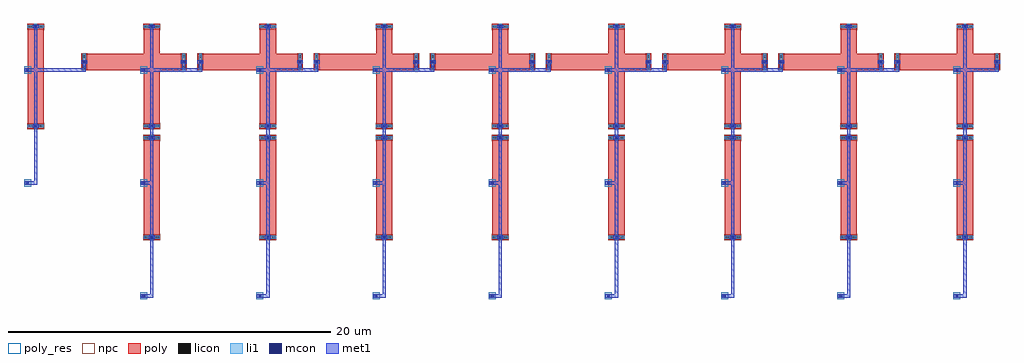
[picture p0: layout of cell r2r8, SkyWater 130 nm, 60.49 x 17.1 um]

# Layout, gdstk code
import gdstk
lib = gdstk.Library(unit=1e-6, precision=1e-09)
def R(c, l, rs):  # rectangles x0, y0, x1, y1
    for r in rs: c.add(gdstk.rectangle(r[:2], r[2:], *l))
def A(c, l, x, y, w, h, nx, ny, dx, dy):  # array of equal rectangles
    R(c, l, [(x+i*dx, y+j*dy, x+i*dx+w, y+j*dy+h) for i in range(nx) for j in range(ny)])
poly_res = (66, 13)
poly = (66, 20)
licon = (66, 44)
li1 = (67, 20)
mcon = (67, 44)
met1 = (68, 20)
npc = (95, 20)

r2r8 = lib.new_cell('r2r8')
A(r2r8, poly_res, 9.7, -1.28, 1, 6, 8, 1, 7.2, 0)
A(r2r8, poly_res, 2.5, 5.61, 1, 6, 9, 1, 7.2, 0)
A(r2r8, poly_res, 6.1, 9, 6, 1, 8, 1, 7.2, 0)
A(r2r8, poly, 9.7, -1.53, 1, 6.5, 8, 1, 7.2, 0)
A(r2r8, poly, 2.5, 5.36, 1, 6.5, 9, 1, 7.2, 0)
A(r2r8, poly, 5.85, 9, 6.5, 1, 8, 1, 7.2, 0)
A(r2r8, licon, 9.775, -1.45, 0.17, 0.17, 3, 2, 0.34, 6.17)
A(r2r8, licon, 16.975, -1.45, 0.17, 0.17, 3, 2, 0.34, 6.17)
A(r2r8, licon, 24.175, -1.45, 0.17, 0.17, 3, 2, 0.34, 6.17)
A(r2r8, licon, 31.375, -1.45, 0.17, 0.17, 3, 2, 0.34, 6.17)
A(r2r8, licon, 38.575, -1.45, 0.17, 0.17, 3, 2, 0.34, 6.17)
A(r2r8, licon, 45.775, -1.45, 0.17, 0.17, 3, 2, 0.34, 6.17)
A(r2r8, licon, 52.975, -1.45, 0.17, 0.17, 3, 2, 0.34, 6.17)
A(r2r8, licon, 60.175, -1.45, 0.17, 0.17, 3, 2, 0.34, 6.17)
A(r2r8, licon, 2.575, 5.44, 0.17, 0.17, 3, 2, 0.34, 6.17)
A(r2r8, licon, 9.775, 5.44, 0.17, 0.17, 3, 2, 0.34, 6.17)
A(r2r8, licon, 16.975, 5.44, 0.17, 0.17, 3, 2, 0.34, 6.17)
A(r2r8, licon, 24.175, 5.44, 0.17, 0.17, 3, 2, 0.34, 6.17)
A(r2r8, licon, 31.375, 5.44, 0.17, 0.17, 3, 2, 0.34, 6.17)
A(r2r8, licon, 38.575, 5.44, 0.17, 0.17, 3, 2, 0.34, 6.17)
A(r2r8, licon, 45.775, 5.44, 0.17, 0.17, 3, 2, 0.34, 6.17)
A(r2r8, licon, 52.975, 5.44, 0.17, 0.17, 3, 2, 0.34, 6.17)
A(r2r8, licon, 60.175, 5.44, 0.17, 0.17, 3, 2, 0.34, 6.17)
A(r2r8, licon, 5.93, 9.075, 0.17, 0.17, 1, 3, 0, 0.34)
A(r2r8, licon, 12.1, 9.075, 0.17, 0.17, 1, 3, 0, 0.34)
A(r2r8, licon, 13.13, 9.075, 0.17, 0.17, 1, 3, 0, 0.34)
A(r2r8, licon, 19.3, 9.075, 0.17, 0.17, 1, 3, 0, 0.34)
A(r2r8, licon, 20.33, 9.075, 0.17, 0.17, 1, 3, 0, 0.34)
A(r2r8, licon, 26.5, 9.075, 0.17, 0.17, 1, 3, 0, 0.34)
A(r2r8, licon, 27.53, 9.075, 0.17, 0.17, 1, 3, 0, 0.34)
A(r2r8, licon, 33.7, 9.075, 0.17, 0.17, 1, 3, 0, 0.34)
A(r2r8, licon, 34.73, 9.075, 0.17, 0.17, 1, 3, 0, 0.34)
A(r2r8, licon, 40.9, 9.075, 0.17, 0.17, 1, 3, 0, 0.34)
A(r2r8, licon, 41.93, 9.075, 0.17, 0.17, 1, 3, 0, 0.34)
A(r2r8, licon, 48.1, 9.075, 0.17, 0.17, 1, 3, 0, 0.34)
A(r2r8, licon, 49.13, 9.075, 0.17, 0.17, 1, 3, 0, 0.34)
A(r2r8, licon, 55.3, 9.075, 0.17, 0.17, 1, 3, 0, 0.34)
A(r2r8, licon, 56.33, 9.075, 0.17, 0.17, 1, 3, 0, 0.34)
A(r2r8, licon, 62.5, 9.075, 0.17, 0.17, 1, 3, 0, 0.34)
A(r2r8, li1, 9.615, -5.165, 0.17, 0.33, 8, 1, 7.2, 0)
A(r2r8, li1, 10.115, -1.53, 0.17, 0.33, 8, 2, 7.2, 6.17)
A(r2r8, li1, 9.695, -1.45, 1.01, 0.17, 8, 2, 7.2, 6.17)
A(r2r8, li1, 2.915, 5.36, 0.17, 0.33, 9, 2, 7.2, 6.17)
A(r2r8, li1, 2.495, 5.44, 1.01, 0.17, 9, 2, 7.2, 6.17)
A(r2r8, li1, 2.28, 8.78, 0.44, 0.44, 9, 1, 7.2, 0)
R(r2r8, li1, [(9.48,-5.22,9.92,-4.78), (9.48,-5.22,9.92,-4.78), (16.68,-5.22,17.12,-4.78), (16.68,-5.22,17.12,-4.78), (23.88,-5.22,24.32,-4.78), (23.88,-5.22,24.32,-4.78), (31.08,-5.22,31.52,-4.78), (31.08,-5.22,31.52,-4.78), (38.28,-5.22,38.72,-4.78), (38.28,-5.22,38.72,-4.78), (45.48,-5.22,45.92,-4.78), (45.48,-5.22,45.92,-4.78), (52.68,-5.22,53.12,-4.78), (52.68,-5.22,53.12,-4.78), (59.88,-5.22,60.32,-4.78), (59.88,-5.22,60.32,-4.78), (2.28,1.78,2.72,2.22), (9.48,1.78,9.92,2.22), (9.48,1.78,9.92,2.22), (9.48,1.78,9.92,2.22), (16.68,1.78,17.12,2.22), (16.68,1.78,17.12,2.22), (16.68,1.78,17.12,2.22), (23.88,1.78,24.32,2.22), (23.88,1.78,24.32,2.22), (23.88,1.78,24.32,2.22), (31.08,1.78,31.52,2.22), (31.08,1.78,31.52,2.22), (31.08,1.78,31.52,2.22), (38.28,1.78,38.72,2.22), (38.28,1.78,38.72,2.22), (38.28,1.78,38.72,2.22), (45.48,1.78,45.92,2.22), (45.48,1.78,45.92,2.22), (45.48,1.78,45.92,2.22), (52.68,1.78,53.12,2.22), (52.68,1.78,53.12,2.22), (52.68,1.78,53.12,2.22), (59.88,1.78,60.32,2.22), (59.88,1.78,60.32,2.22), (59.88,1.78,60.32,2.22), (2.415,1.835,2.585,2.165), (9.615,1.835,9.785,2.165), (9.615,1.835,9.785,2.165), (16.815,1.835,16.985,2.165), (16.815,1.835,16.985,2.165), (24.015,1.835,24.185,2.165), (24.015,1.835,24.185,2.165), (31.215,1.835,31.385,2.165), (31.215,1.835,31.385,2.165), (38.415,1.835,38.585,2.165), (38.415,1.835,38.585,2.165), (45.615,1.835,45.785,2.165), (45.615,1.835,45.785,2.165), (52.815,1.835,52.985,2.165), (52.815,1.835,52.985,2.165), (60.015,1.835,60.185,2.165), (60.015,1.835,60.185,2.165), (2.415,8.835,2.585,9.165), (2.415,8.835,2.585,9.165), (9.615,8.835,9.785,9.165), (9.615,8.835,9.785,9.165), (9.615,8.835,9.785,9.165), (16.815,8.835,16.985,9.165), (16.815,8.835,16.985,9.165), (16.815,8.835,16.985,9.165), (24.015,8.835,24.185,9.165), (24.015,8.835,24.185,9.165), (24.015,8.835,24.185,9.165), (31.215,8.835,31.385,9.165), (31.215,8.835,31.385,9.165), (31.215,8.835,31.385,9.165), (38.415,8.835,38.585,9.165), (38.415,8.835,38.585,9.165), (38.415,8.835,38.585,9.165), (45.615,8.835,45.785,9.165), (45.615,8.835,45.785,9.165), (45.615,8.835,45.785,9.165), (52.815,8.835,52.985,9.165), (52.815,8.835,52.985,9.165), (52.815,8.835,52.985,9.165), (60.015,8.835,60.185,9.165), (60.015,8.835,60.185,9.165), (5.93,8.995,6.1,10.005), (12.1,8.995,12.27,10.005), (13.13,8.995,13.3,10.005), (19.3,8.995,19.47,10.005), (20.33,8.995,20.5,10.005), (26.5,8.995,26.67,10.005), (27.53,8.995,27.7,10.005), (33.7,8.995,33.87,10.005), (34.73,8.995,34.9,10.005), (40.9,8.995,41.07,10.005), (41.93,8.995,42.1,10.005), (48.1,8.995,48.27,10.005), (49.13,8.995,49.3,10.005), (55.3,8.995,55.47,10.005), (56.33,8.995,56.5,10.005), (62.5,8.995,62.67,10.005), (5.93,9.335,6.1,9.665), (12.1,9.335,12.27,9.665), (13.13,9.335,13.3,9.665), (19.3,9.335,19.47,9.665), (20.33,9.335,20.5,9.665), (26.5,9.335,26.67,9.665), (27.53,9.335,27.7,9.665), (33.7,9.335,33.87,9.665), (34.73,9.335,34.9,9.665), (40.9,9.335,41.07,9.665), (41.93,9.335,42.1,9.665), (48.1,9.335,48.27,9.665), (49.13,9.335,49.3,9.665), (55.3,9.335,55.47,9.665), (56.33,9.335,56.5,9.665), (62.5,9.335,62.67,9.665)])
A(r2r8, mcon, 9.615, -5.085, 0.17, 0.17, 8, 1, 7.2, 0)
A(r2r8, mcon, 10.115, -1.45, 0.17, 0.17, 8, 2, 7.2, 6.17)
A(r2r8, mcon, 2.915, 5.44, 0.17, 0.17, 9, 2, 7.2, 6.17)
R(r2r8, mcon, [(2.415,1.915,2.585,2.085), (9.615,1.915,9.785,2.085), (9.615,1.915,9.785,2.085), (16.815,1.915,16.985,2.085), (16.815,1.915,16.985,2.085), (24.015,1.915,24.185,2.085), (24.015,1.915,24.185,2.085), (31.215,1.915,31.385,2.085), (31.215,1.915,31.385,2.085), (38.415,1.915,38.585,2.085), (38.415,1.915,38.585,2.085), (45.615,1.915,45.785,2.085), (45.615,1.915,45.785,2.085), (52.815,1.915,52.985,2.085), (52.815,1.915,52.985,2.085), (60.015,1.915,60.185,2.085), (60.015,1.915,60.185,2.085), (2.415,8.915,2.585,9.085), (2.415,8.915,2.585,9.085), (9.615,8.915,9.785,9.085), (9.615,8.915,9.785,9.085), (9.615,8.915,9.785,9.085), (16.815,8.915,16.985,9.085), (16.815,8.915,16.985,9.085), (16.815,8.915,16.985,9.085), (24.015,8.915,24.185,9.085), (24.015,8.915,24.185,9.085), (24.015,8.915,24.185,9.085), (31.215,8.915,31.385,9.085), (31.215,8.915,31.385,9.085), (31.215,8.915,31.385,9.085), (38.415,8.915,38.585,9.085), (38.415,8.915,38.585,9.085), (38.415,8.915,38.585,9.085), (45.615,8.915,45.785,9.085), (45.615,8.915,45.785,9.085), (45.615,8.915,45.785,9.085), (52.815,8.915,52.985,9.085), (52.815,8.915,52.985,9.085), (52.815,8.915,52.985,9.085), (60.015,8.915,60.185,9.085), (60.015,8.915,60.185,9.085), (5.93,9.415,6.1,9.585), (12.1,9.415,12.27,9.585), (13.13,9.415,13.3,9.585), (19.3,9.415,19.47,9.585), (20.33,9.415,20.5,9.585), (26.5,9.415,26.67,9.585), (27.53,9.415,27.7,9.585), (33.7,9.415,33.87,9.585), (34.73,9.415,34.9,9.585), (40.9,9.415,41.07,9.585), (41.93,9.415,42.1,9.585), (48.1,9.415,48.27,9.585), (49.13,9.415,49.3,9.585), (55.3,9.415,55.47,9.585), (56.33,9.415,56.5,9.585), (62.5,9.415,62.67,9.585)])
A(r2r8, met1, 9.515, -5.115, 0.37, 0.23, 8, 1, 7.2, 0)
A(r2r8, met1, 9.7, -5.1, 0.6, 0.2, 8, 1, 7.2, 0)
A(r2r8, met1, 10.1, -5.1, 0.2, 9.905, 8, 1, 7.2, 0)
A(r2r8, met1, 10.015, -1.48, 0.37, 0.23, 8, 2, 7.2, 6.17)
A(r2r8, met1, 10.1, -1.365, 0.2, 3.465, 8, 1, 7.2, 0)
A(r2r8, met1, 2.9, 1.9, 0.2, 9.795, 9, 1, 7.2, 0)
A(r2r8, met1, 2.815, 5.41, 0.37, 0.23, 9, 2, 7.2, 6.17)
A(r2r8, met1, 2.9, 5.525, 0.2, 3.575, 9, 1, 7.2, 0)
A(r2r8, met1, 2.5, 8.9, 3.615, 0.2, 8, 1, 7.2, 0)
A(r2r8, met1, 2.5, 8.9, 0.6, 0.2, 9, 1, 7.2, 0)
A(r2r8, met1, 9.7, 8.9, 2.585, 0.2, 8, 1, 7.2, 0)
R(r2r8, met1, [(2.315,1.885,2.685,2.115), (9.515,1.885,9.885,2.115), (9.515,1.885,9.885,2.115), (16.715,1.885,17.085,2.115), (16.715,1.885,17.085,2.115), (23.915,1.885,24.285,2.115), (23.915,1.885,24.285,2.115), (31.115,1.885,31.485,2.115), (31.115,1.885,31.485,2.115), (38.315,1.885,38.685,2.115), (38.315,1.885,38.685,2.115), (45.515,1.885,45.885,2.115), (45.515,1.885,45.885,2.115), (52.715,1.885,53.085,2.115), (52.715,1.885,53.085,2.115), (59.915,1.885,60.285,2.115), (59.915,1.885,60.285,2.115), (2.5,1.9,3.1,2.1), (9.7,1.9,10.3,2.1), (9.7,1.9,10.3,2.1), (16.9,1.9,17.5,2.1), (16.9,1.9,17.5,2.1), (24.1,1.9,24.7,2.1), (24.1,1.9,24.7,2.1), (31.3,1.9,31.9,2.1), (31.3,1.9,31.9,2.1), (38.5,1.9,39.1,2.1), (38.5,1.9,39.1,2.1), (45.7,1.9,46.3,2.1), (45.7,1.9,46.3,2.1), (52.9,1.9,53.5,2.1), (52.9,1.9,53.5,2.1), (60.1,1.9,60.7,2.1), (60.1,1.9,60.7,2.1), (2.315,8.885,2.685,9.115), (2.315,8.885,2.685,9.115), (9.515,8.885,9.885,9.115), (9.515,8.885,9.885,9.115), (9.515,8.885,9.885,9.115), (16.715,8.885,17.085,9.115), (16.715,8.885,17.085,9.115), (16.715,8.885,17.085,9.115), (23.915,8.885,24.285,9.115), (23.915,8.885,24.285,9.115), (23.915,8.885,24.285,9.115), (31.115,8.885,31.485,9.115), (31.115,8.885,31.485,9.115), (31.115,8.885,31.485,9.115), (38.315,8.885,38.685,9.115), (38.315,8.885,38.685,9.115), (38.315,8.885,38.685,9.115), (45.515,8.885,45.885,9.115), (45.515,8.885,45.885,9.115), (45.515,8.885,45.885,9.115), (52.715,8.885,53.085,9.115), (52.715,8.885,53.085,9.115), (52.715,8.885,53.085,9.115), (59.915,8.885,60.285,9.115), (59.915,8.885,60.285,9.115), (5.915,8.9,6.115,9.5), (12.085,8.9,12.285,9.5), (13.115,8.9,13.315,9.5), (19.285,8.9,19.485,9.5), (20.315,8.9,20.515,9.5), (26.485,8.9,26.685,9.5), (27.515,8.9,27.715,9.5), (33.685,8.9,33.885,9.5), (34.715,8.9,34.915,9.5), (40.885,8.9,41.085,9.5), (41.915,8.9,42.115,9.5), (48.085,8.9,48.285,9.5), (49.115,8.9,49.315,9.5), (55.285,8.9,55.485,9.5), (56.315,8.9,56.515,9.5), (62.485,8.9,62.685,9.5), (5.83,9.385,6.2,9.615), (12,9.385,12.37,9.615), (13.03,9.385,13.4,9.615), (19.2,9.385,19.57,9.615), (20.23,9.385,20.6,9.615), (26.4,9.385,26.77,9.615), (27.43,9.385,27.8,9.615), (33.6,9.385,33.97,9.615), (34.63,9.385,35,9.615), (40.8,9.385,41.17,9.615), (41.83,9.385,42.2,9.615), (48,9.385,48.37,9.615), (49.03,9.385,49.4,9.615), (55.2,9.385,55.57,9.615), (56.23,9.385,56.6,9.615), (62.4,9.385,62.77,9.615)])
A(r2r8, npc, 9.675, -1.55, 1.05, 0.37, 8, 2, 7.2, 6.17)
A(r2r8, npc, 2.475, 5.34, 1.05, 0.37, 9, 2, 7.2, 6.17)
R(r2r8, npc, [(5.83,8.975,6.2,10.025), (12,8.975,12.37,10.025), (13.03,8.975,13.4,10.025), (19.2,8.975,19.57,10.025), (20.23,8.975,20.6,10.025), (26.4,8.975,26.77,10.025), (27.43,8.975,27.8,10.025), (33.6,8.975,33.97,10.025), (34.63,8.975,35,10.025), (40.8,8.975,41.17,10.025), (41.83,8.975,42.2,10.025), (48,8.975,48.37,10.025), (49.03,8.975,49.4,10.025), (55.2,8.975,55.57,10.025), (56.23,8.975,56.6,10.025), (62.4,8.975,62.77,10.025)])

lib.write_gds('r2r8.gds')
